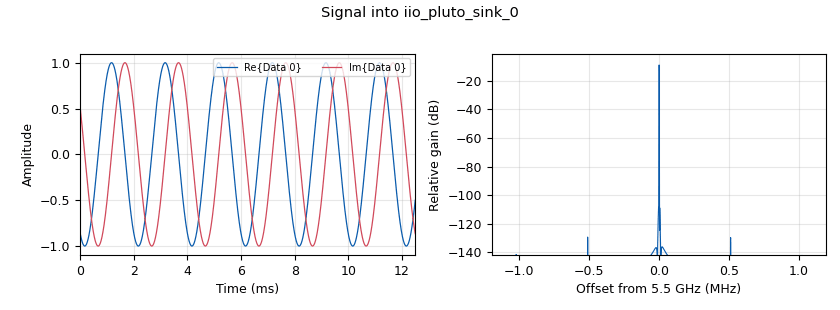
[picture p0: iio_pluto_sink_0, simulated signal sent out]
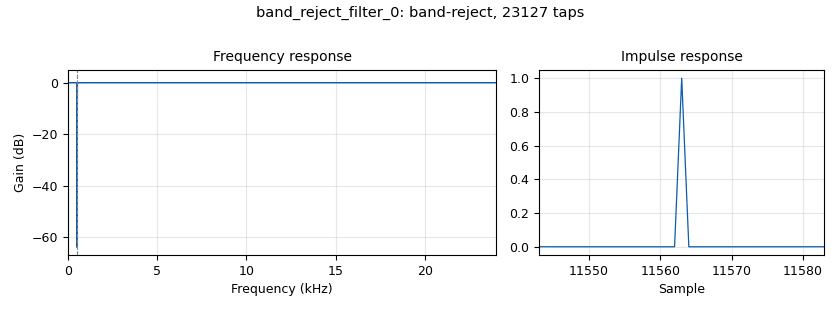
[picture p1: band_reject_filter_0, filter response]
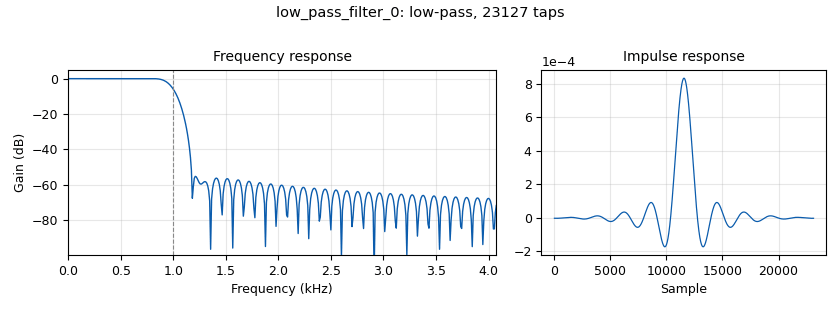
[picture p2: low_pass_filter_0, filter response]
options:
  parameters:
    author: shreya
    generate_options: qt_gui
    id: test
    output_language: python
    title: CWRADAR
  states: {}

blocks:
- name: audio_gain
  id: variable_qtgui_range
  parameters:
    start: '0'
    step: '0.1'
    stop: '10'
    value: '1'
  states: {}
- name: decimation
  id: variable
  parameters:
    value: '50'
  states: {}
- name: reject_fractional_bandwidth
  id: variable_qtgui_range
  parameters:
    start: '0'
    step: '0.001'
    stop: '0.200'
    value: '0.010'
    widget: slider
  states: {}
- name: rx_gain
  id: variable_qtgui_range
  parameters:
    start: '0'
    step: '1'
    stop: '100'
    value: '64'
  states: {}
- name: samp_rate
  id: variable
  parameters:
    value: '2400000'
  states: {}
- name: tone
  id: variable_qtgui_range
  parameters:
    start: '-2000'
    step: '1'
    stop: '2000'
    value: '500'
  states: {}
- name: tx_attenuation
  id: variable_qtgui_range
  parameters:
    start: '0'
    step: '1'
    stop: '100'
    value: '10'
  states: {}
- name: analog_sig_source_x_0
  id: analog_sig_source_x
  parameters:
    amp: '1'
    freq: tone
    offset: '0'
    phase: '0'
    samp_rate: samp_rate
    type: complex
    waveform: analog.GR_COS_WAVE
  states: {}
- name: audio_sink_0
  id: audio_sink
  parameters:
    samp_rate: '48000'
  states: {}
- name: band_reject_filter_0
  id: band_reject_filter
  parameters:
    decim: '1'
    gain: '1'
    high_cutoff_freq: tone*(1+reject_fractional_bandwidth)
    low_cutoff_freq: tone*(1-reject_fractional_bandwidth)
    samp_rate: samp_rate/decimation
    type: fir_filter_ccf
    width: tone*reject_fractional_bandwidth
    win: window.WIN_HAMMING
  states: {}
- name: blocks_complex_to_real_0
  id: blocks_complex_to_real
  parameters: {}
  states: {}
- name: blocks_multiply_const_vxx_0
  id: blocks_multiply_const_vxx
  parameters:
    const: audio_gain
    type: complex
  states: {}
- name: blocks_null_sink_0
  id: blocks_null_sink
  parameters:
    type: float
  states: {state: disabled}
- name: blocks_null_sink_1
  id: blocks_null_sink
  parameters:
    type: float
  states: {state: disabled}
- name: epy_block_0
  id: epy_block
  parameters:
    _source_code: |
      import numpy as np
      from gnuradio import gr
      import time
      import socket
      import struct


      class doppler_velocity(gr.sync_block):
          """
          Doppler Velocity Estimator with direct UDP output.
          Sends [doppler, velocity, dBFS] as a 12-byte UDP packet
          directly, bypassing UDP Sink entirely.
          """

          def __init__(self,
                       samp_rate=48000,
                       fft_size=8192,
                       center_freq_hz=5.5e9,
                       print_every_n=5,
                       noise_thresh_db=10.0,
                       tone_offset_hz=500.0,
                       max_velocity_mps=10.0,
                       udp_ip="127.0.0.1",
                       udp_port=5005):

              gr.sync_block.__init__(
                  self,
                  name="doppler_velocity",
                  in_sig=[np.complex64],
                  out_sig=None   # no stream output needed anymore
              )

              self.samp_rate = samp_rate
              self.fft_size = fft_size

              self.c = 3e8
              self.wavelength = self.c / center_freq_hz

              self.threshold = noise_thresh_db
              self.print_every_n = print_every_n
              self.tone_offset = tone_offset_hz
              self.max_velocity = max_velocity_mps

              self.bin_resolution = self.samp_rate / self.fft_size

              self.window = np.hanning(self.fft_size)

              self.buffer = np.zeros(self.fft_size, dtype=np.complex64)

              self.buf_idx = 0
              self.call_count = 0

              self.last_doppler = 0.0
              self.last_velocity = 0.0
              self.last_dbfs = -120.0

              self.last_print = time.time()

              # --- UDP setup ---
              self.udp_ip = udp_ip
              self.udp_port = udp_port
              self.sock = socket.socket(socket.AF_INET, socket.SOCK_DGRAM)

          def work(self, input_items, output_items):

              samples = input_items[0]

              rms = np.sqrt(np.mean(np.abs(samples)**2))
              dbfs = 20 * np.log10(rms + 1e-12)
              self.last_dbfs = dbfs

              for sample in samples:
                  self.buffer[self.buf_idx] = sample
                  self.buf_idx += 1

                  if self.buf_idx >= self.fft_size:
                      self.process_block(self.buffer)
                      self.buf_idx = 0

              # Send one UDP packet per work() call
              packet = struct.pack("<fff",
                                    self.last_doppler,
                                    self.last_velocity,
                                    self.last_dbfs)
              try:
                  self.sock.sendto(packet, (self.udp_ip, self.udp_port))
              except OSError as e:
                  print(f"UDP send failed: {e}")

              if time.time() - self.last_print >= 1:
                  print(
                      f"Signal Level = {self.last_dbfs:.2f} dBFS | "
                      f"Doppler = {self.last_doppler:.2f} Hz | "
                      f"Velocity = {self.last_velocity:.3f} m/s"
                  )
                  self.last_print = time.time()

              return len(samples)

          def process_block(self, block):
              spectrum = np.fft.fftshift(np.fft.fft(block * self.window))
              magnitude = np.abs(spectrum)
              mag_db = 20 * np.log10(magnitude + 1e-12)
              center = self.fft_size // 2

              max_doppler_hz = 2 * self.max_velocity / self.wavelength
              max_doppler_bins = int(np.ceil(max_doppler_hz / self.bin_resolution))
              tone_bin = center + int(round(self.tone_offset / self.bin_resolution))
              lo = max(0, tone_bin - max_doppler_bins)
              hi = min(self.fft_size, tone_bin + max_doppler_bins + 1)

              search_region = mag_db[lo:hi]
              noise_floor = np.median(mag_db)
              local_peak = np.argmax(search_region)
              peak_bin = lo + local_peak
              peak_db = mag_db[peak_bin]

              if (peak_db - noise_floor) < self.threshold:
                  return

              peak = float(peak_bin)
              if 1 <= peak_bin < self.fft_size - 1:
                  a = mag_db[peak_bin - 1]
                  b = mag_db[peak_bin]
                  c = mag_db[peak_bin + 1]
                  denom = a - 2 * b + c
                  if abs(denom) > 1e-12:
                      peak += 0.5 * (a - c) / denom

              raw_freq = (peak - center) * self.bin_resolution
              doppler_freq = raw_freq - self.tone_offset
              velocity = doppler_freq * self.wavelength / 2.0

              self.last_doppler = doppler_freq
              self.last_velocity = velocity
              self.call_count += 1
    center_freq_hz: 5.5e9
    fft_size: '8192'
    max_velocity_mps: '5'
    noise_thresh_db: '16'
    print_every_n: '5'
    samp_rate: '48000'
    tone_offset_hz: tone
    udp_ip: '''192.168.0.127'''
    udp_port: '5005'
  states: {}
- name: iio_pluto_sink_0
  id: iio_pluto_sink
  parameters:
    attenuation1: tx_attenuation
    bandwidth: '20000000'
    buffer_size: '32768'
    cyclic: 'False'
    filter_source: '''Auto'''
    frequency: '5500000000'
    samplerate: samp_rate
    type: fc32
    uri: 192.168.3.1
  states: {}
- name: iio_pluto_source_0
  id: iio_pluto_source
  parameters:
    bandwidth: '20000000'
    bbdc: 'True'
    buffer_size: '32768'
    filter_source: '''Auto'''
    frequency: '5500000000'
    gain1: '''manual'''
    manual_gain1: rx_gain
    quadrature: 'True'
    rfdc: 'True'
    samplerate: samp_rate
    type: fc32
    uri: 192.168.3.1
  states: {}
- name: low_pass_filter_0
  id: low_pass_filter
  parameters:
    cutoff_freq: tone*2
    decim: decimation
    gain: '1'
    samp_rate: samp_rate
    type: fir_filter_ccf
    width: tone/2
    win: window.WIN_HAMMING
  states: {}
- name: qtgui_freq_sink_x_0
  id: qtgui_freq_sink_x
  parameters:
    bw: 48e3
    fc: '0'
    fftsize: '8192'
    type: complex
  states: {state: disabled}
- name: qtgui_waterfall_sink_x_1
  id: qtgui_waterfall_sink_x
  parameters:
    bw: 1e6
    fc: '0'
    fftsize: '8192'
    name: ''
    type: complex
    update_time: '0.01'
    wintype: window.WIN_RECTANGULAR
  states: {}

connections:
- [analog_sig_source_x_0, '0', iio_pluto_sink_0, '0']
- [band_reject_filter_0, '0', blocks_multiply_const_vxx_0, '0']
- [band_reject_filter_0, '0', epy_block_0, '0']
- [band_reject_filter_0, '0', qtgui_freq_sink_x_0, '0']
- [band_reject_filter_0, '0', qtgui_waterfall_sink_x_1, '0']
- [blocks_complex_to_real_0, '0', audio_sink_0, '0']
- [blocks_multiply_const_vxx_0, '0', blocks_complex_to_real_0, '0']
- [iio_pluto_source_0, '0', low_pass_filter_0, '0']
- [low_pass_filter_0, '0', band_reject_filter_0, '0']

metadata:
  file_format: 1
